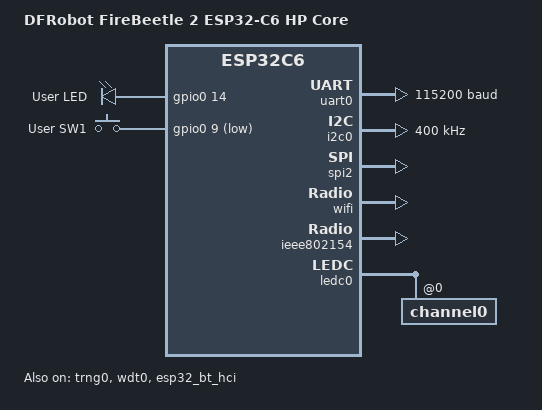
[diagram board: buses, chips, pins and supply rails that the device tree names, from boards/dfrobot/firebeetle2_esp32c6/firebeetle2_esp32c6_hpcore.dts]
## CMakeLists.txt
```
cmake_minimum_required(VERSION 3.20.0)

# Set board root for custom board
list(APPEND BOARD_ROOT ${CMAKE_CURRENT_SOURCE_DIR})

find_package(Zephyr REQUIRED HINTS $ENV{ZEPHYR_BASE})
project(firebeetle2_esp32c6_led)

target_sources(app PRIVATE src/main.c)
```

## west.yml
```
# Copyright (c) 2021 Nordic Semiconductor ASA
# SPDX-License-Identifier: Apache-2.0

manifest:
  self:
    west-commands: scripts/west-commands.yml

  remotes:
    - name: zephyrproject-rtos
      url-base: https://github.com/zephyrproject-rtos

  projects:
    - name: zephyr
      remote: zephyrproject-rtos
      revision: v4.2.0
      import:
        # By using name-allowlist we can clone only the modules that are
        # strictly needed by the application.
        name-allowlist:
          - hal_espressif # required for ESP32-C6 board
```

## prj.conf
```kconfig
# Configuration for ESP32-C6 LED application
CONFIG_GPIO=y

# PWM support for servo motor
CONFIG_PWM=y

# Enable logging
CONFIG_LOG=y
CONFIG_LOG_PRINTK=y
CONFIG_PRINTK=y
CONFIG_EARLY_CONSOLE=y

# Console and UART
CONFIG_CONSOLE=y
CONFIG_SERIAL=y
CONFIG_UART_CONSOLE=y

# Enable main thread debugging
CONFIG_MAIN_STACK_SIZE=2048
```

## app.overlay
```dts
/*
 * Device Tree Overlay für DFRobot FireBeetle 2 ESP32-C6
 * Diese Konfiguration definiert die onboard LED an GPIO15 (D13)
 */

/ {
    leds {
        compatible = "gpio-leds";
        led0: led_0 {
            gpios = <&gpio0 15 GPIO_ACTIVE_HIGH>;
            label = "User LED";
        };
    };

    aliases {
        led0 = &led0;
    };
};
```

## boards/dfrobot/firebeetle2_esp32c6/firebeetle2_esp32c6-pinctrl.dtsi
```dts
/*
 * Copyright (c) 2024 DFRobot
 * SPDX-License-Identifier: Apache-2.0
 */

#include <dt-bindings/pinctrl/esp32c6-pinctrl.h>

&pinctrl {
	uart0_default: uart0_default {
		group1 {
			pinmux = <UART0_TX_GPIO16>;
			output-high;
		};
		group2 {
			pinmux = <UART0_RX_GPIO17>;
			bias-pull-up;
		};
	};

	i2c0_default: i2c0_default {
		group1 {
			pinmux = <I2C0_SDA_GPIO19>,
				 <I2C0_SCL_GPIO20>;
			bias-pull-up;
			drive-open-drain;
			output-high;
		};
	};

	spi2_default: spi2_default {
		group1 {
			pinmux = <SPIM2_MISO_GPIO21>,
				 <SPIM2_MOSI_GPIO22>,
				 <SPIM2_SCLK_GPIO23>;
		};
		group2 {
			pinmux = <SPIM2_CSEL_GPIO1>;
			output-low;
		};
	};
};
```

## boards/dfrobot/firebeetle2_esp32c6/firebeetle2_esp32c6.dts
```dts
/*
 * Copyright (c) 2024 DFRobot
 * SPDX-License-Identifier: Apache-2.0
 */

/dts-v1/;

#include <espressif/esp32c6/esp32c6_fx4.dtsi>
#include "firebeetle2_esp32c6-pinctrl.dtsi"
#include <zephyr/dt-bindings/input/input-event-codes.h>

/ {
	model = "DFRobot FireBeetle 2 ESP32-C6";
	compatible = "dfrobot,firebeetle2-esp32c6";

	chosen {
		zephyr,sram = &sram0;
		zephyr,console = &usb_serial;
		zephyr,shell-uart = &usb_serial;
		zephyr,flash = &flash0;
		zephyr,code-partition = &slot0_partition;
	};

	aliases {
		led0 = &user_led;
		sw0 = &user_button;
		watchdog0 = &wdt0;
	};

	leds {
		compatible = "gpio-leds";
		user_led: led_0 {
			gpios = <&gpio0 15 GPIO_ACTIVE_HIGH>;
			label = "User LED";
		};
	};

	gpio_keys {
		compatible = "gpio-keys";
		user_button: button_0 {
			label = "User Button";
			gpios = <&gpio0 9 (GPIO_PULL_UP | GPIO_ACTIVE_LOW)>;
			zephyr,code = <INPUT_KEY_0>;
		};
	};

	/* Solar panel and battery management */
	power {
		compatible = "regulator-fixed";
		regulator-name = "vcc3v3";
		regulator-min-microvolt = <3300000>;
		regulator-max-microvolt = <3300000>;
	};

	battery {
		compatible = "voltage-divider";
		io-channels = <&adc0 0>;
		output-ohms = <1000000>;
		full-ohms = <2000000>;
		power-gpios = <&gpio0 0 GPIO_ACTIVE_HIGH>;
	};
};

&cpu0 {
	clock-frequency = <ESP32_CLK_CPU_160M>;
};

&uart0 {
	status = "okay";
	current-speed = <115200>;
	pinctrl-0 = <&uart0_default>;
	pinctrl-names = "default";
};

&usb_serial {
	status = "okay";
};

&i2c0 {
	status = "okay";
	clock-frequency = <I2C_BITRATE_STANDARD>;
	pinctrl-0 = <&i2c0_default>;
	pinctrl-names = "default";
};

&spi2 {
	#address-cells = <1>;
	#size-cells = <0>;
	status = "okay";
	pinctrl-0 = <&spi2_default>;
	pinctrl-names = "default";
};

&gpio0 {
	status = "okay";
};

&wdt0 {
	status = "okay";
};

&timer0 {
	status = "okay";
};

&timer1 {
	status = "okay";
};

&adc0 {
	status = "okay";
	#address-cells = <1>;
	#size-cells = <0>;

	channel@0 {
		reg = <0>;
		zephyr,gain = "ADC_GAIN_1";
		zephyr,reference = "ADC_REF_INTERNAL";
		zephyr,acquisition-time = <ADC_ACQ_TIME_DEFAULT>;
		zephyr,resolution = <12>;
	};
};

&flash0 {
	status = "okay";
	partitions {
		compatible = "fixed-partitions";
		#address-cells = <1>;
		#size-cells = <1>;

		/* Reserve 64KB for the bootloader */
		boot_partition: partition@0 {
			label = "mcuboot";
			reg = <0x00000000 0x00010000>;
			read-only;
		};

		/* Reserve 1024KB for the application in slot 0 */
		slot0_partition: partition@10000 {
			label = "image-0";
			reg = <0x00010000 0x00100000>;
		};

		/* Reserve 1024KB for the application in slot 1 */
		slot1_partition: partition@110000 {
			label = "image-1";
			reg = <0x00110000 0x00100000>;
		};

		/* Reserve 256KB for the scratch partition */
		scratch_partition: partition@210000 {
			label = "image-scratch";
			reg = <0x00210000 0x00040000>;
		};

		storage_partition: partition@250000 {
			label = "storage";
			reg = <0x00250000 0x00006000>;
		};
	};
};
```

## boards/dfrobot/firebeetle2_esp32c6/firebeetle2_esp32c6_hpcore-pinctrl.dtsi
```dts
/*
 * Copyright (c) 2023 Espressif Systems (Shanghai) Co., Ltd.
 *
 * SPDX-License-Identifier: Apache-2.0
 */

#include <zephyr/dt-bindings/pinctrl/esp-pinctrl-common.h>
#include <dt-bindings/pinctrl/esp32c6-pinctrl.h>
#include <zephyr/dt-bindings/pinctrl/esp32c6-gpio-sigmap.h>

&pinctrl {

	uart0_default: uart0_default {
		group1 {
			pinmux = <UART0_TX_GPIO16>;
			output-high;
		};
		group2 {
			pinmux = <UART0_RX_GPIO17>;
			bias-pull-up;
		};
	};

	spim2_default: spim2_default {
		group1 {
			pinmux = <SPIM2_MISO_GPIO2>,
				 <SPIM2_SCLK_GPIO6>,
				 <SPIM2_CSEL_GPIO10>;
		};
		group2 {
			pinmux = <SPIM2_MOSI_GPIO7>;
			output-low;
		};
	};

	i2c0_default: i2c0_default {
		group1 {
			pinmux = <I2C0_SDA_GPIO6>,
				 <I2C0_SCL_GPIO7>;
			bias-pull-up;
			drive-open-drain;
			output-high;
		};
	};

	ledc0_default: ledc0_default {
		group1 {
			pinmux = <LEDC_CH0_GPIO15>;
			output-enable;
		};
	};
};
```

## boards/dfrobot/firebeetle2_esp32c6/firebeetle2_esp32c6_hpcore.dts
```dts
/*
 * Copyright (c) 2024 DFRobot
 * SPDX-License-Identifier: Apache-2.0
 */

/dts-v1/;

#include <espressif/esp32c6/esp32c6_wroom_n4.dtsi>
#include "firebeetle2_esp32c6_hpcore-pinctrl.dtsi"
#include <zephyr/dt-bindings/input/input-event-codes.h>
#include <zephyr/dt-bindings/pwm/pwm.h>
#include <espressif/partitions_0x0_default.dtsi>

/ {
	model = "DFRobot FireBeetle 2 ESP32-C6 HP Core";
	compatible = "dfrobot,firebeetle2-esp32c6";

	chosen {
		zephyr,sram = &sramhp;
		zephyr,console = &uart0;
		zephyr,shell-uart = &uart0;
		zephyr,flash = &flash0;
		zephyr,code-partition = &slot0_partition;
		zephyr,ieee802154 = &ieee802154;
	};

	aliases {
		led0 = &user_led;
		sw0 = &user_button1;
		watchdog0 = &wdt0;
	};

	leds {
		compatible = "gpio-leds";
		user_led: led_0 {
			gpios = <&gpio0 14 GPIO_ACTIVE_HIGH>;
			label = "User LED";
		};
	};

	gpio_keys {
		compatible = "gpio-keys";
		user_button1: button_1 {
			label = "User SW1";
			gpios = <&gpio0 9 (GPIO_PULL_UP | GPIO_ACTIVE_LOW)>;
			zephyr,code = <INPUT_KEY_0>;
		};
	};
};

&uart0 {
	status = "okay";
	current-speed = <115200>;
	pinctrl-0 = <&uart0_default>;
	pinctrl-names = "default";
};

&trng0 {
	status = "okay";
};

&i2c0 {
	status = "okay";
	clock-frequency = <I2C_BITRATE_FAST>;
	pinctrl-0 = <&i2c0_default>;
	pinctrl-names = "default";
};

&spi2 {
	#address-cells = <1>;
	#size-cells = <0>;
	status = "okay";
	pinctrl-0 = <&spim2_default>;
	pinctrl-names = "default";
};

&gpio0 {
	status = "okay";
};

&uart0 {
	status = "okay";
	current-speed = <115200>;
	pinctrl-0 = <&uart0_default>;
	pinctrl-names = "default";
};

&wdt0 {
	status = "okay";
};

&wifi {
	status = "okay";
};

&ieee802154 {
	status = "okay";
};

&esp32_bt_hci {
	status = "okay";
};

&ledc0 {
	status = "okay";
	pinctrl-0 = <&ledc0_default>;
	pinctrl-names = "default";
	#address-cells = <1>;
	#size-cells = <0>;
	channel0@0 {
		reg = <0x0>;
		timer = <0>;
	};
};
```

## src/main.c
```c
/*
 * DFRobot FireBeetle 2 ESP32-C6 Servo Motor Application
 * 
 * Diese Anwendung steuert einen WS-SG90 Servo Motor direkt über PWM auf GPIO15
 * und eine LED auf GPIO14. Gibt zusätzlich Akku-Informationen aus.
 */

#include <zephyr/kernel.h>
#include <zephyr/device.h>
#include <zephyr/drivers/gpio.h>
#include <zephyr/drivers/pwm.h>
#include <zephyr/drivers/adc.h>
#include <zephyr/logging/log.h>
#include <stdio.h>

LOG_MODULE_REGISTER(servo_app, LOG_LEVEL_INF);

/* LED Konfiguration */
#define LED0_NODE DT_ALIAS(led0)

#if !DT_NODE_HAS_STATUS_OKAY(LED0_NODE)
#error "Unsupported board: led0 devicetree alias is not defined"
#endif

static const struct gpio_dt_spec led = GPIO_DT_SPEC_GET(LED0_NODE, gpios);

/* PWM Device für Servo */
static const struct device *pwm_dev;

/* Servo Konfiguration */
#define SERVO_PWM_CHANNEL   0
#define SERVO_MIN_PULSE_NS  500000   /* 0.5ms = 0 Grad */
#define SERVO_MID_PULSE_NS  1500000  /* 1.5ms = 90 Grad */
#define SERVO_MAX_PULSE_NS  2500000  /* 2.5ms = 180 Grad */
#define SERVO_PERIOD_NS     20000000 /* 20ms Periode */

int main(void)
{
    int ret;
    bool led_state = true;
    int servo_position = 0; /* 0=min, 1=mid, 2=max */
    uint32_t servo_pulse_widths[] = {SERVO_MIN_PULSE_NS, SERVO_MID_PULSE_NS, SERVO_MAX_PULSE_NS};
    const char* servo_position_names[] = {"0°", "90°", "180°"};

    LOG_INF("DFRobot FireBeetle 2 ESP32-C6 Servo Motor App gestartet");

    /* LED Device prüfen */
    if (!gpio_is_ready_dt(&led)) {
        LOG_ERR("LED device %s ist nicht bereit", led.port->name);
        return -ENODEV;
    }

    /* LED Pin als Output konfigurieren */
    ret = gpio_pin_configure_dt(&led, GPIO_OUTPUT_ACTIVE);
    if (ret < 0) {
        LOG_ERR("Fehler beim Konfigurieren der LED: %d", ret);
        return ret;
    }

    /* PWM Device für Servo holen */
    pwm_dev = DEVICE_DT_GET(DT_NODELABEL(ledc0));
    if (!device_is_ready(pwm_dev)) {
        LOG_ERR("PWM device %s ist nicht bereit", pwm_dev->name);
        return -ENODEV;
    }

    LOG_INF("LED Pin %d und PWM device erfolgreich konfiguriert", led.pin);
    LOG_INF("Servo Motor wird auf Pin 15 (PWM Kanal %d) gesteuert", SERVO_PWM_CHANNEL);

    /* Zähler für verschiedene Aktionen */
    int battery_counter = 0;
    int servo_counter = 0;

    while (1) {
        /* LED umschalten */
        ret = gpio_pin_toggle_dt(&led);
        if (ret < 0) {
            LOG_ERR("Fehler beim Umschalten der LED: %d", ret);
        }

        led_state = !led_state;
        LOG_INF("LED ist jetzt: %s", led_state ? "AN" : "AUS");

        /* Alle 3 Sekunden Servo Position ändern */
        if (++servo_counter >= 3) {
            servo_counter = 0;
            
            /* Servo Position setzen */
            ret = pwm_set(pwm_dev, SERVO_PWM_CHANNEL, SERVO_PERIOD_NS, servo_pulse_widths[servo_position], 0);
            if (ret < 0) {
                LOG_ERR("Fehler beim Setzen der Servo Position: %d", ret);
            } else {
                LOG_INF("Servo Position: %s (%d ns)", 
                       servo_position_names[servo_position], 
                       servo_pulse_widths[servo_position]);
            }
            
            /* Nächste Position für nächstes Mal */
            servo_position = (servo_position + 1) % 3;
        }

        /* Alle 5 Sekunden Akku-Daten ausgeben */
        if (++battery_counter >= 5) {
            battery_counter = 0;
            
            /* Simulierte Batterie-Daten */
            float battery_voltage = 3.7f + (float)(k_uptime_get() % 1000) / 10000.0f;
            int battery_percentage = (int)((battery_voltage - 3.0f) / 1.2f * 100);
            if (battery_percentage > 100) battery_percentage = 100;
            if (battery_percentage < 0) battery_percentage = 0;
            
            printf("=== STATUS ===\n");
            printf("Akku: %.2f V (%d%%)\n", battery_voltage, battery_percentage);
            printf("Servo: %s\n", servo_position_names[(servo_position + 2) % 3]); /* Aktuelle Position */
            printf("Uptime: %lld ms\n", k_uptime_get());
            printf("==============\n");
            
            LOG_INF("Akku: %.2fV (%d%%)", battery_voltage, battery_percentage);
        }

        /* 1 Sekunde warten */
        k_msleep(1000);
    }

    return 0;
}
```
